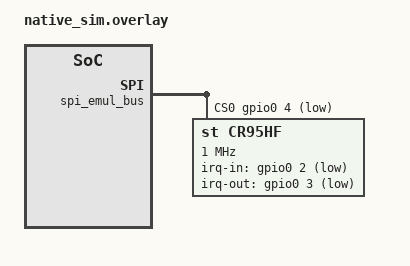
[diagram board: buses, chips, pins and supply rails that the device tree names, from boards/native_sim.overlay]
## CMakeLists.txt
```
# Copyright (c) 2025,2026 Conny Marco Menebröcker
#
# SPDX-License-Identifier: Apache-2.0

cmake_minimum_required(VERSION 3.20.0)

set(DTC_OVERLAY_FILE ${CMAKE_CURRENT_SOURCE_DIR}/boards/native_sim.overlay)

find_package(Zephyr REQUIRED HINTS $ENV{ZEPHYR_BASE})
project(device)

target_include_directories(app
  PRIVATE
    include
    mocks
)

target_sources(app
  PRIVATE
    src/cr95hf_spi.c
)
```

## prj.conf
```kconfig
# Copyright (c) 2025,2026 Conny Marco Menebröcker
#
# SPDX-License-Identifier: Apache-2.0
CONFIG_EMUL=y
CONFIG_SPI=y
CONFIG_GPIO=y
CONFIG_SPI_EMUL=y
CONFIG_GPIO_EMUL=y
CONFIG_RFID=y
CONFIG_RFID_CR95HF=y
CONFIG_RFID_ISO14443=y
CONFIG_RFID_ISO14443A=y
CONFIG_CRC=y
CONFIG_EMUL_CR95HF=y
CONFIG_ZTEST=y
CONFIG_LOG=y
CONFIG_LOG_DEFAULT_LEVEL=4
```

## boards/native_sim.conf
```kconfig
# Copyright (c) 2025 Conny Marco Menebröcker
#
# SPDX-License-Identifier: Apache-2.0


CONFIG_EMUL=y
CONFIG_SPI=y
CONFIG_GPIO=y
CONFIG_SPI_EMUL=y
CONFIG_GPIO_EMUL=y
CONFIG_RFID=y
CONFIG_RFID_CR95HF=y
CONFIG_RFID_ISO14443=y
CONFIG_RFID_ISO14443A=y
CONFIG_CRC=y
CONFIG_EMUL_CR95HF=y
```

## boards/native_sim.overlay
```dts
/*
 * Copyright (c) 2025,2026 Conny Marco Menebröcker
 *
 * SPDX-License-Identifier: Apache-2.0
 */
/ {
	spi_emul_bus: spi@200 {
		compatible = "zephyr,spi-emul-controller";
		reg = <0x200 4>;
		status = "okay";
		#address-cells = <1>;
		#size-cells = <0>;
		cs-gpios = <&gpio0 4 GPIO_ACTIVE_LOW>;

		cr95hf: cr95hf@0 {
			compatible = "st,cr95hf";
			reg = <0>;
			spi-max-frequency = <1000000>;
			status = "okay";
			irq-in-gpios = <&gpio0 2 GPIO_ACTIVE_LOW>;
			irq-out-gpios = <&gpio0 3 GPIO_ACTIVE_LOW>;
		};
	};
};

&{/} {
	aliases {
		rfid = &cr95hf;
	};
};
```

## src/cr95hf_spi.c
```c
/*
 * Copyright (c) 2025,2026 Conny Marco Menebröcker
 *
 * SPDX-License-Identifier: Apache-2.0
 */
#include <zephyr/ztest.h>
#include <zephyr/drivers/emul.h>
#include <zephyr/drivers/spi_emul.h>
#include <zephyr/drivers/rfid.h>
#include <zephyr/rfid/iso14443.h>

#define CR95HF_SND_BUF_SIZE 50
#define CR95HF_RCV_BUF_SIZE 258

struct rfid_cr95hf_data {
	struct gpio_callback irq_callback;
	struct spi_buf spi_snd_buffer;
	struct spi_buf spi_rcv_buffer;
	struct spi_buf_set spi_snd_buffer_arr;
	struct spi_buf_set spi_rcv_buffer_arr;
	uint8_t rcv_buffer[CR95HF_RCV_BUF_SIZE];
	uint8_t snd_buffer[CR95HF_SND_BUF_SIZE];
	struct k_sem irq_out_sem;
	gpio_callback_handler_t cb_handler;
	struct k_mutex data_mutex;
	bool hw_tx_crc;
	uint32_t timeout_us;
};

static const struct device *rfid_dev;
struct rfid_iso14443a_info info = {0};

ZTEST(cr95hf_test, test_cr95hf_read_uid)
{
	rfid_dev = DEVICE_DT_GET(DT_NODELABEL(cr95hf));
	zassert_true(device_is_ready(rfid_dev), "CR95HF device not ready/init failed");

	zassert_equal(rfid_set_protocol(rfid_dev, RFID_PROTO_ISO14443A,
					RFID_MODE_INITIATOR | RFID_MODE_TX_106 | RFID_MODE_RX_106),
		      0, "Failed to load protocol");

	zassert_equal(rfid_iso14443a_request(rfid_dev, info.atqa, true), 0,
		      "Failed to request ATQA");

	zassert_equal(rfid_iso14443a_sdd(rfid_dev, &info), 0, "Failed to select device");

	uint8_t expected_uid[4] = {0x08, 0x19, 0x2D, 0xA2};

	zassert_equal(info.uid_len, 4, "Length of TAG UID is not 4 as expected");
	zassert_mem_equal(info.uid, expected_uid, 4,
			  "Received TAG ID is not the expected 0x08192DA2");
}

ZTEST_SUITE(cr95hf_test, NULL, NULL, NULL, NULL, NULL);
```
